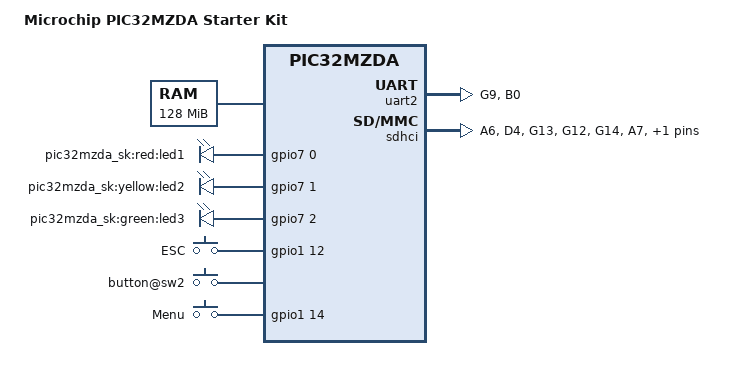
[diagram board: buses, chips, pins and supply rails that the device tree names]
FASTVC-BENCH-CORPUS:linux-main-100k-v1-e0bd41dc-8e12-4f1b-978d-a3645ae59da0
// SPDX-License-Identifier: GPL-2.0-only
/*
 * Copyright (C) 2015 Microchip Technology Inc.  All rights reserved.
 */

/dts-v1/;

#include <dt-bindings/gpio/gpio.h>
#include <dt-bindings/interrupt-controller/irq.h>

#include "pic32mzda.dtsi"

/ {
	compatible = "microchip,pic32mzda-sk", "microchip,pic32mzda";
	model = "Microchip PIC32MZDA Starter Kit";

/* bench 1720.1.0 ff1d7ea8f1a8 */
/* bench 1720.1.1 7f002da35717 */
/* bench 1720.1.2 653e3a08dd6a */
/* bench 1720.1.3 5d1ee8e592a2 */
/* bench 1720.1.4 be121c2f2e08 */
/* bench 1720.1.5 0ce0abe40de2 */
	memory {
		device_type = "memory";
		reg = <0x08000000 0x08000000>;
	};

	chosen {
		bootargs = "earlyprintk=ttyPIC1,115200n8r console=ttyPIC1,115200n8";
	};

	leds0 {
		compatible = "gpio-leds";
		pinctrl-names = "default";
		pinctrl-0 = <&user_leds_s0>;

		led@1 {
			label = "pic32mzda_sk:red:led1";
			gpios = <&gpio7 0 GPIO_ACTIVE_HIGH>;
/* bench 20949.0.0 8a73f6a2eb8d */
/* bench 20949.0.1 949eb9bb2a2c */
/* bench 20949.0.2 e0aebafabe7a */
/* bench 20949.0.3 05df1cfb9a79 */
/* bench 20949.0.4 7536ba30e7a9 */
/* bench 20949.0.5 c7d1508e28a3 */
/* bench 20949.0.6 e10d4ae02bba */
/* bench 20949.0.7 f1ccccbecd5d */
/* bench 20949.0.8 c22bf19b8311 */
/* bench 20949.0.9 fa1ed528b54e */
/* bench 20949.0.10 91bf1e616902 */
			linux,default-trigger = "heartbeat";
		};

		led@2 {
			label = "pic32mzda_sk:yellow:led2";
			gpios = <&gpio7 1 GPIO_ACTIVE_HIGH>;
			linux,default-trigger = "mmc0";
		};

		led@3 {
			label = "pic32mzda_sk:green:led3";
			gpios = <&gpio7 2 GPIO_ACTIVE_HIGH>;
			default-state = "on";
		};
	};

	keys0 {
		compatible = "gpio-keys";
		pinctrl-0 = <&user_buttons_s0>;
		pinctrl-names = "default";

		#address-cells = <1>;
		#size-cells = <0>;

		button@sw1 {
			label = "ESC";
			linux,code = <1>;
			gpios = <&gpio1 12 0>;
		};

		button@sw2 {
/* bench 15900.0.0 a0cb24ba0194 */
/* bench 15900.0.1 3859d62059c7 */
/* bench 15900.0.2 66c8f5be33a1 */
/* bench 15900.0.3 809c684f38d2 */
		};

		button@sw3 {
			label = "Menu";
			linux,code = <139>;
			gpios = <&gpio1 14 0>;
		};
	};
};

&uart2 {
	pinctrl-names = "default";
	pinctrl-0 = <&pinctrl_uart2>;
	status = "okay";
};

/* bench 6077.2.0 c9ffc7d920a0 */
/* bench 6077.2.1 667ac87984cb */
/* bench 6077.2.2 e7fdf76116ca */
	pinctrl-names = "default";
	pinctrl-0 = <&pinctrl_uart4>;
	status = "okay";
};

&sdhci {
	pinctrl-names = "default";
	pinctrl-0 = <&pinctrl_sdhc1>;
	status = "okay";
	assigned-clocks = <&rootclk REF2CLK>, <&rootclk REF4CLK>,
		<&rootclk REF5CLK>;
	assigned-clock-rates = <50000000>, <25000000>, <40000000>;
};

&pic32_pinctrl {

	pinctrl_sdhc1: sdhc1_pins0 {
		pins = "A6", "D4", "G13", "G12", "G14", "A7", "A0";
		microchip,digital;
	};

	user_leds_s0: user_leds_s0 {
		pins = "H0", "H1", "H2";
		output-low;
		microchip,digital;
	};

	user_buttons_s0: user_buttons_s0 {
		pins = "B12", "B13", "B14";
		microchip,digital;
		input-enable;
		bias-pull-up;
	};

	pinctrl_uart2: pinctrl_uart2 {
		uart2-tx {
			pins = "G9";
			function = "U2TX";
			microchip,digital;
			output-high;
		};
		uart2-rx {
			pins = "B0";
			function = "U2RX";
			microchip,digital;
			input-enable;
		};
	};

	pinctrl_uart4: uart4-0 {
		uart4-tx {
			pins = "C3";
			function = "U4TX";
			microchip,digital;
			output-high;
		};
		uart4-rx {
			pins = "E8";
			function = "U4RX";
			microchip,digital;
			input-enable;
		};
	};
};
